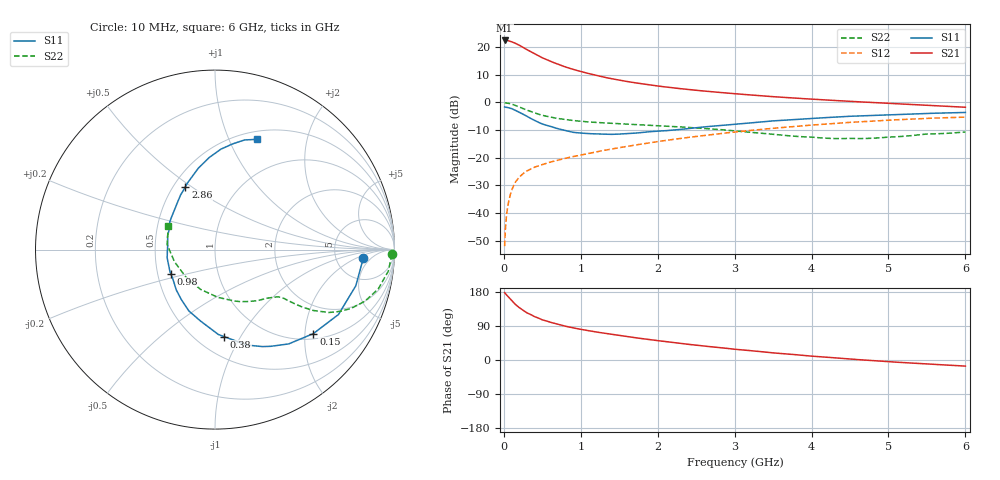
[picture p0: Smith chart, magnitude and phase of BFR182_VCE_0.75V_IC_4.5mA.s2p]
! Infineon Technologies  Discrete & RF Semiconductors
! BFR182
! VCE = 0.75 V,  IC =  4.5 mA
! Common Emitter S-Parameters:  Nov 2015
# GHz  S  MA  R  50
!  f  S11  S21  S12  S22
! GHz  MAG  ANG  MAG  ANG  MAG  ANG  MAG  ANG
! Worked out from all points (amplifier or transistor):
!   210 points, 10 MHz to 6 GHz, reference 50 ohm
!   highest |S21| = 22.4 dB at 10 MHz (marker M1)
!   |S21| within 3 dB of that: start of sweep to 279.6 MHz
!   unconditionally stable (mu >= 1): 995.4 MHz to 3.272 GHz
!   at 185 MHz: K = 0.32, MSG = 24.3 dB, |S12| = -27.6 dB
!   at 1.52 GHz: K = 1.09, MAG = 10.4 dB, |S12| = -16.3 dB
!   at 6 GHz: K = 0.94, MSG = 1.8 dB, |S12| = -5.3 dB
!   S11 on the Smith chart (normalised r, x): 10 MHz: 10, -3; 150 MHz: 1.14, -2.21; 380 MHz: 0.67, -0.85; 980 MHz: 0.59, -0.17; 2.86 GHz: 0.57, +0.47; 6 GHz: 0.59, +1.28
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0.01  0.8278 -3.2  13.22 177.8  0.0025 86.0  0.9865 -1.5
0.025  0.8179 -7.3  13.11 174.1  0.0063 86.0  0.9803 -3.5
0.05  0.81 -14.4  13.2 168.4  0.0128 82.2  0.973 -7.1
0.1  0.7773 -27.7  12.57 157.6  0.0254 76.2  0.9353 -13.6
0.15  0.7206 -40.5  11.77 146.7  0.036 69.2  0.8835 -19.0
0.2  0.6668 -52.0  10.91 138.2  0.0441 65.6  0.8259 -23.4
0.24  0.6217 -60.1  10.07 132.4  0.05 62.2  0.7811 -26.0
0.3  0.5613 -71.4  9.017 124.5  0.0574 59.4  0.7248 -28.9
0.38  0.4876 -84.0  7.868 116.7  0.0653 57.1  0.6595 -31.2
0.4  0.4735 -87.7  7.608 114.4  0.0673 56.6  0.6434 -31.8
0.5  0.4063 -101.4  6.421 106.0  0.0748 55.5  0.5829 -33.3
0.6  0.3714 -113.1  5.578 99.8  0.0828 54.8  0.5427 -34.1
0.8  0.3114 -133.9  4.381 89.2  0.0974 55.1  0.4896 -35.0
0.98  0.2808 -151.6  3.685 81.7  0.11 56.2  0.4581 -35.7
1.02  0.278 -155.2  3.561 80.2  0.1129 56.4  0.4526 -36.0
1.4  0.2641 175.9  2.683 67.7  0.1429 57.0  0.4187 -39.5
2.02  0.3022 143.3  1.966 50.6  0.1972 55.7  0.3792 -47.6
2.86  0.3864 115.3  1.494 31.5  0.2771 50.2  0.318 -65.3
3.1  0.4131 109.9  1.401 26.7  0.3002 47.9  0.2968 -72.2
4.1  0.5227 92.1  1.124 8.8  0.3976 37.1  0.2291 -115.1
5.1  0.6039 79.3  0.947 -5.7  0.4846 24.7  0.2387 -168.2
6  0.6577 69.1  0.817 -16.1  0.5415 12.2  0.2913 153.4
